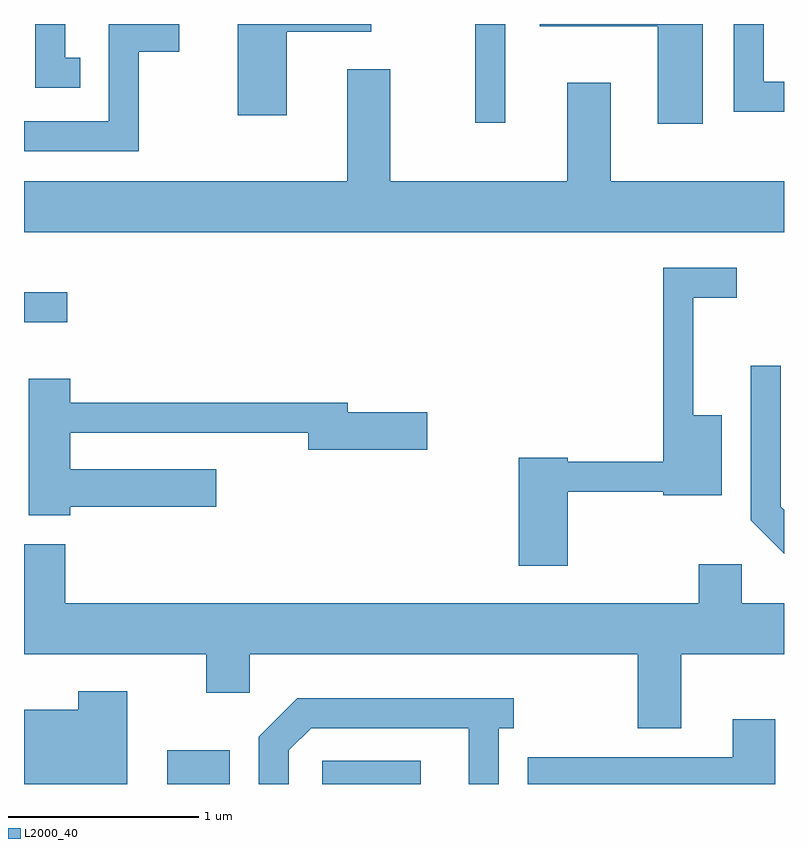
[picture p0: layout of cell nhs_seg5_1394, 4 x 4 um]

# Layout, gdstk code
import gdstk
lib = gdstk.Library(unit=1e-6, precision=1e-09)
def R(c, l, rs):  # rectangles x0, y0, x1, y1
    for r in rs: c.add(gdstk.rectangle(r[:2], r[2:], *l))
def P(c, l, *ps):  # polygons
    for p in ps: c.add(gdstk.Polygon(p, *l))
L2000_40 = (2000, 40)

nhs_seg5_1394 = lib.new_cell('nhs_seg5_1394')
R(nhs_seg5_1394, L2000_40, [(226.366,1496.072,226.694,1496.249), (227.181,1496.072,227.698,1496.194), (225.611,1498.501,225.838,1498.659), (227.986,1499.553,228.144,1500.072)])
P(nhs_seg5_1394, L2000_40, [(226.214,1499.926),(226.429,1499.926),(226.429,1500.072),(226.056,1500.072),(226.056,1499.559),(225.611,1499.559),(225.611,1499.401),(226.214,1499.401)],
  [(229.184,1500.072),(228.326,1500.072),(228.326,1500.061),(228.946,1500.061),(228.946,1499.546),(229.184,1499.546)],
  [(226.994,1500.031),(227.438,1500.031),(227.438,1500.072),(226.736,1500.072),(226.736,1499.591),(226.994,1499.591)],
  [(225.908,1499.894),(225.829,1499.894),(225.829,1500.072),(225.671,1500.072),(225.671,1499.736),(225.908,1499.736)],
  [(229.611,1499.769),(229.504,1499.769),(229.504,1500.072),(229.346,1500.072),(229.346,1499.611),(229.611,1499.611)],
  [(229.611,1499.244),(228.699,1499.244),(228.699,1499.764),(228.471,1499.764),(228.471,1499.244),(227.539,1499.244),(227.539,1499.834),(227.311,1499.834),(227.311,1499.244),(225.611,1499.244),(225.611,1498.976),(229.611,1498.976)],
  [(228.474,1497.611),(228.976,1497.611),(228.976,1497.591),(229.284,1497.591),(229.284,1498.014),(229.134,1498.014),(229.134,1498.631),(229.363,1498.631),(229.363,1498.789),(228.976,1498.789),(228.976,1497.769),(228.474,1497.769),(228.474,1497.789),(228.216,1497.789),(228.216,1497.221),(228.474,1497.221)],
  [(229.611,1497.515),(229.594,1497.532),(229.594,1498.273),(229.436,1498.273),(229.436,1497.459),(229.611,1497.284)],
  [(225.854,1497.531),(226.624,1497.531),(226.624,1497.729),(225.854,1497.729),(225.854,1497.921),(227.106,1497.921),(227.106,1497.831),(227.734,1497.831),(227.734,1498.029),(227.314,1498.029),(227.314,1498.079),(225.854,1498.079),(225.854,1498.204),(225.636,1498.204),(225.636,1497.486),(225.854,1497.486)],
  [(229.069,1496.756),(229.611,1496.756),(229.611,1497.024),(229.389,1497.024),(229.389,1497.229),(229.161,1497.229),(229.161,1497.024),(225.829,1497.024),(225.829,1497.334),(225.611,1497.334),(225.611,1496.756),(226.571,1496.756),(226.571,1496.551),(226.799,1496.551),(226.799,1496.756),(228.841,1496.756),(228.841,1496.366),(229.069,1496.366)],
  [(226.154,1496.559),(225.896,1496.559),(225.896,1496.464),(225.611,1496.464),(225.611,1496.072),(226.154,1496.072)],
  [(227.004,1496.249),(227.122,1496.366),(227.951,1496.366),(227.951,1496.072),(228.109,1496.072),(228.109,1496.366),(228.188,1496.366),(228.188,1496.524),(227.049,1496.524),(226.846,1496.322),(226.846,1496.072),(227.004,1496.072)],
  [(229.564,1496.414),(229.341,1496.414),(229.341,1496.214),(228.261,1496.214),(228.261,1496.072),(229.564,1496.072)])

lib.write_gds('nhs_seg5_1394.gds')
